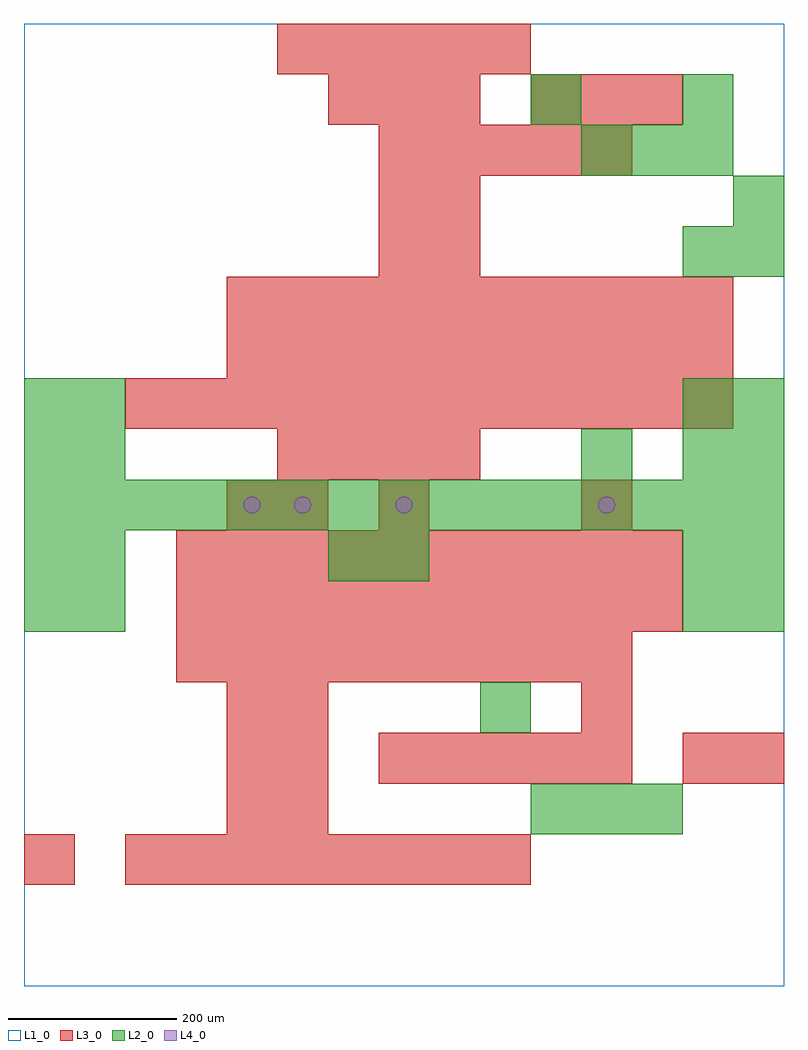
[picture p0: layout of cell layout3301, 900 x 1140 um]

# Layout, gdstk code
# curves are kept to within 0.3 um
import gdstk
lib = gdstk.Library(unit=1e-6, precision=1e-09)
def R(c, l, rs):  # rectangles x0, y0, x1, y1
    for r in rs: c.add(gdstk.rectangle(r[:2], r[2:], *l))
def A(c, l, x, y, w, h, nx, ny, dx, dy):  # array of equal rectangles
    R(c, l, [(x+i*dx, y+j*dy, x+i*dx+w, y+j*dy+h) for i in range(nx) for j in range(ny)])
def P(c, l, *ps):  # polygons
    for p in ps: c.add(gdstk.Polygon(p, *l))
L1_0 = (1, 0)
L2_0 = (2, 0)
L3_0 = (3, 0)
L4_0 = (4, 0)

layout3301 = lib.new_cell('layout3301')
R(layout3301, L1_0, [(0,0,900,1140)])
A(layout3301, L2_0, 600, 180, 60, 60, 3, 1, 60, 0)
A(layout3301, L2_0, 0, 540, 60, 60, 15, 1, 60, 0)
A(layout3301, L2_0, 780, 660, 60, 60, 1, 3, 0, 180)
A(layout3301, L2_0, 660, 960, 60, 60, 3, 1, 60, 0)
R(layout3301, L2_0, [(540,300,600,360), (0,420,60,480), (60,420,120,480), (780,420,840,480), (840,420,900,480), (0,480,60,540), (60,480,120,540), (360,480,420,540), (420,480,480,540), (780,480,840,540), (840,480,900,540), (0,600,60,660), (60,600,120,660), (660,600,720,660), (780,600,840,660), (840,600,900,660), (0,660,60,720), (60,660,120,720), (840,660,900,720), (840,840,900,900), (840,900,900,960), (600,1020,660,1080)])
A(layout3301, L3_0, 120, 120, 60, 60, 8, 1, 60, 0)
A(layout3301, L3_0, 240, 180, 60, 60, 1, 3, 0, 60)
A(layout3301, L3_0, 300, 180, 60, 60, 1, 3, 0, 60)
A(layout3301, L3_0, 420, 240, 60, 60, 5, 2, 60, 720)
A(layout3301, L3_0, 180, 360, 60, 60, 9, 1, 60, 0)
A(layout3301, L3_0, 180, 420, 60, 60, 10, 2, 60, 60)
A(layout3301, L3_0, 300, 600, 60, 60, 4, 1, 60, 0)
A(layout3301, L3_0, 120, 660, 60, 60, 12, 1, 60, 0)
A(layout3301, L3_0, 240, 720, 60, 60, 10, 2, 60, 60)
A(layout3301, L3_0, 360, 1020, 60, 60, 3, 1, 60, 0)
A(layout3301, L3_0, 600, 1020, 60, 60, 3, 1, 60, 0)
A(layout3301, L3_0, 300, 1080, 60, 60, 5, 1, 60, 0)
R(layout3301, L3_0, [(0,120,60,180), (780,240,840,300), (840,240,900,300), (660,300,720,360), (240,540,300,600), (300,540,360,600), (420,540,480,600), (660,540,720,600), (420,840,480,900), (480,840,540,900), (420,900,480,960), (480,900,540,960)])
P(layout3301, L4_0, [(280,570),(279.239,573.827),(277.071,577.071),(273.827,579.239),(270,580),(266.173,579.239),(262.929,577.071),(260.761,573.827),(260,570),(260.761,566.173),(262.929,562.929),(266.173,560.761),(270,560),(273.827,560.761),(277.071,562.929),(279.239,566.173)],
  [(340,570),(339.239,573.827),(337.071,577.071),(333.827,579.239),(330,580),(326.173,579.239),(322.929,577.071),(320.761,573.827),(320,570),(320.761,566.173),(322.929,562.929),(326.173,560.761),(330,560),(333.827,560.761),(337.071,562.929),(339.239,566.173)],
  [(460,570),(459.239,573.827),(457.071,577.071),(453.827,579.239),(450,580),(446.173,579.239),(442.929,577.071),(440.761,573.827),(440,570),(440.761,566.173),(442.929,562.929),(446.173,560.761),(450,560),(453.827,560.761),(457.071,562.929),(459.239,566.173)],
  [(700,570),(699.239,573.827),(697.071,577.071),(693.827,579.239),(690,580),(686.173,579.239),(682.929,577.071),(680.761,573.827),(680,570),(680.761,566.173),(682.929,562.929),(686.173,560.761),(690,560),(693.827,560.761),(697.071,562.929),(699.239,566.173)])

lib.write_gds('layout3301.gds')
